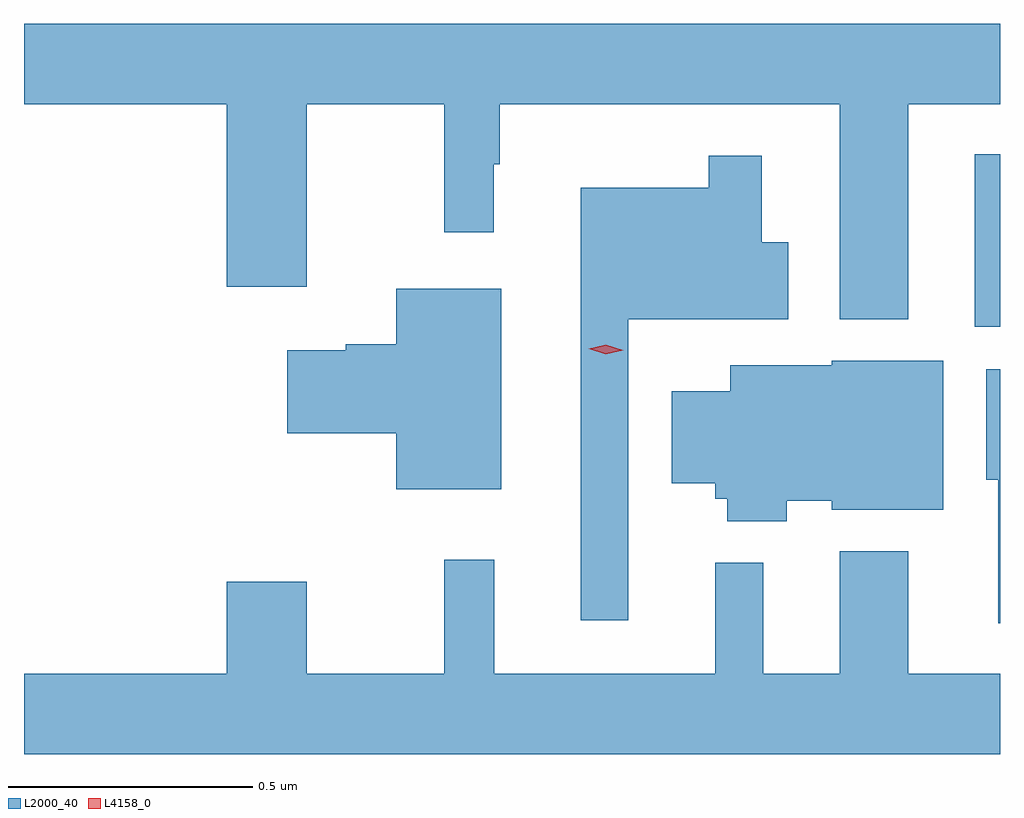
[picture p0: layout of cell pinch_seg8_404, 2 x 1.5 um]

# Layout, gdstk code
import gdstk
lib = gdstk.Library(unit=1e-6, precision=1e-09)
def R(c, l, rs):  # rectangles x0, y0, x1, y1
    for r in rs: c.add(gdstk.rectangle(r[:2], r[2:], *l))
def P(c, l, *ps):  # polygons
    for p in ps: c.add(gdstk.Polygon(p, *l))
L2000_40 = (2000, 40)
L4158_0 = (4158, 0)

pinch_seg8_404 = lib.new_cell('pinch_seg8_404')
R(pinch_seg8_404, L2000_40, [(562.145,1092.068,562.197,1092.421)])
P(pinch_seg8_404, L2000_40, [(562.009,1092.524),(562.197,1092.524),(562.197,1092.688),(560.197,1092.688),(560.197,1092.524),(560.612,1092.524),(560.612,1092.15),(560.776,1092.15),(560.776,1092.524),(561.058,1092.524),(561.058,1092.261),(561.16,1092.261),(561.16,1092.401),(561.172,1092.401),(561.172,1092.524),(561.869,1092.524),(561.869,1092.083),(562.009,1092.083)],
  [(561.435,1092.083),(561.763,1092.083),(561.763,1092.241),(561.709,1092.241),(561.709,1092.418),(561.6,1092.418),(561.6,1092.352),(561.338,1092.352),(561.338,1091.466),(561.435,1091.466)],
  [(561.175,1092.145),(560.96,1092.145),(560.96,1092.032),(560.856,1092.032),(560.856,1092.019),(560.736,1092.019),(560.736,1091.849),(560.96,1091.849),(560.96,1091.735),(561.175,1091.735)],
  [(561.76,1091.711),(561.852,1091.711),(561.852,1091.693),(562.081,1091.693),(562.081,1091.998),(561.852,1091.998),(561.852,1091.989),(561.644,1091.989),(561.644,1091.935),(561.524,1091.935),(561.524,1091.747),(561.614,1091.747),(561.614,1091.715),(561.638,1091.715),(561.638,1091.669),(561.76,1091.669)],
  [(562.197,1091.98),(562.169,1091.98),(562.169,1091.754),(562.193,1091.754),(562.193,1091.46),(562.197,1091.46)],
  [(562.197,1091.356),(562.009,1091.356),(562.009,1091.608),(561.869,1091.608),(561.869,1091.356),(561.712,1091.356),(561.712,1091.584),(561.614,1091.584),(561.614,1091.356),(561.161,1091.356),(561.161,1091.59),(561.058,1091.59),(561.058,1091.356),(560.776,1091.356),(560.776,1091.545),(560.612,1091.545),(560.612,1091.356),(560.197,1091.356),(560.197,1091.192),(562.197,1091.192)])
P(pinch_seg8_404, L4158_0, [(561.389,1092.011),(561.354,1092.022),(561.353,1092.022),(561.354,1092.022),(561.389,1092.031),(561.425,1092.019),(561.425,1092.019),(561.425,1092.019)])

lib.write_gds('pinch_seg8_404.gds')
